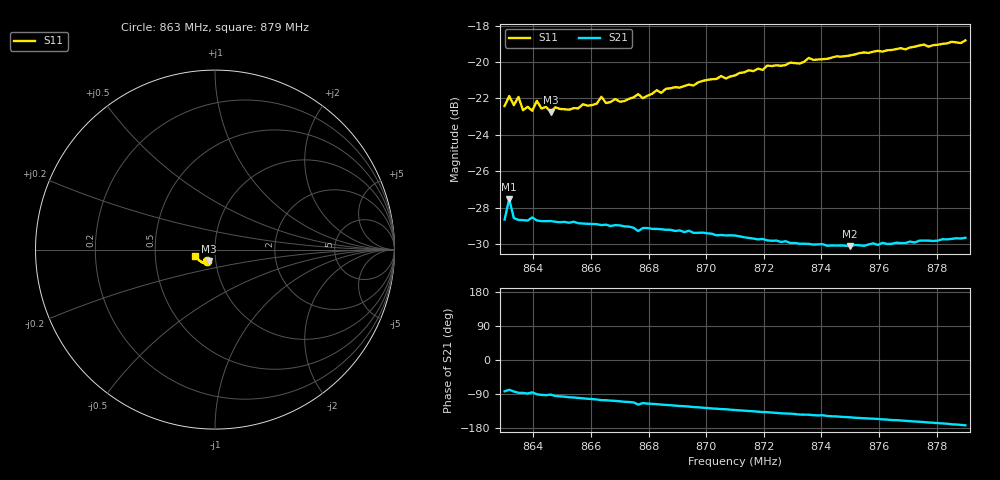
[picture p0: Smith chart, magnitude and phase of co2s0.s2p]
# HZ S RI R 50
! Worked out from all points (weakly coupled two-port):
!   101 points, 863 MHz to 879 MHz, reference 50 ohm
!   highest |S21| = -27.53 dB at 863.16 MHz (marker M1); lowest = -30.1 dB at 875 MHz (marker M2)
!   lowest |S11| = -22.7 dB at 864.6 MHz (marker M3), VSWR 1.16, Z = 46.2 - j5.88 ohm
!   |S11| at or under -10 dB: start of sweep to end of sweep
!   S12 and S22 are empty: the file has one direction only
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8.63e8  -0.0433 -0.0621  0.00472 -0.0366  0 0  0 0
8.6316e8  -0.0343 -0.073  0.00833 -0.0412  0 0  0 0
8.6332e8  -0.0411 -0.064  0.00445 -0.037  0 0  0 0
8.6348e8  -0.0478 -0.0644  0.00224 -0.0368  0 0  0 0
8.6364e8  -0.0378 -0.0633  0.00198 -0.0367  0 0  0 0
8.638e8  -0.0428 -0.062  0.00101 -0.0367  0 0  0 0
8.6396e8  -0.0374 -0.0633  0.00302 -0.0373  0 0  0 0
8.6412e8  -0.0447 -0.0642  -0.000222 -0.0367  0 0  0 0
8.6428e8  -0.0369 -0.0647  -0.0013 -0.0365  0 0  0 0
8.646e8  -0.0362 -0.0633  -0.000875 -0.0366  0 0  0 0
8.6572e8  -0.0392 -0.0658  -0.00703 -0.0353  0 0  0 0
8.662e8  -0.04 -0.0656  -0.00872 -0.0348  0 0  0 0
8.6636e8  -0.0456 -0.0661  -0.00979 -0.0343  0 0  0 0
8.6652e8  -0.0385 -0.0669  -0.00995 -0.0343  0 0  0 0
8.6764e8  -0.0422 -0.0699  -0.016 -0.0304  0 0  0 0
8.678e8  -0.0428 -0.067  -0.014 -0.032  0 0  0 0
8.6844e8  -0.044 -0.0695  -0.0162 -0.0307  0 0  0 0
8.71e8  -0.0559 -0.0729  -0.0223 -0.0248  0 0  0 0
8.7372e8  -0.0742 -0.0691  -0.026 -0.0178  0 0  0 0
8.75e8  -0.0825 -0.0638  -0.0274 -0.015  0 0  0 0
8.7644e8  -0.0927 -0.0554  -0.0294 -0.0116  0 0  0 0
8.79e8  -0.1087 -0.0365  -0.0326 -0.00439  0 0  0 0
